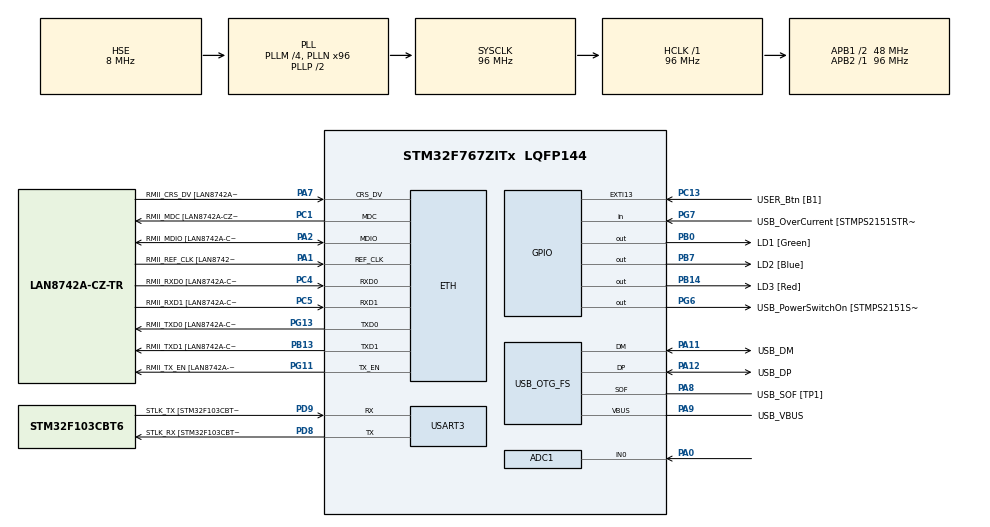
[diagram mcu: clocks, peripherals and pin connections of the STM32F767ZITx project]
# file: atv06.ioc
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ADC1.Channel-1\#ChannelRegularConversion=ADC_CHANNEL_0
ADC1.ContinuousConvMode=ENABLE
ADC1.NbrOfConversionFlag=1
ADC1.Rank-1\#ChannelRegularConversion=1
ADC1.SamplingTime-1\#ChannelRegularConversion=ADC_SAMPLETIME_3CYCLES
ADC1.master=1
ETH.MediaInterface=HAL_ETH_RMII_MODE
ETH.PHY_Name=LAN8742A_PHY_ADDRESS
ETH.PHY_Value=0
ETH.PhyAddress=0
FREERTOS.BinarySemaphores01=semButton,Dynamic,NULL,Available;semDone,Dynamic,NULL,Available
FREERTOS.Queues01=myQueue01,32,uint16_t,0,Dynamic,NULL,NULL
FREERTOS.Tasks01=TaskProdutora,24,128,StartTaskprodutora,Default,NULL,Dynamic,NULL,NULL;TaskConsumidora,24,128,StartTaskConsumidora,Default,NULL,Dynamic,NULL,NULL
Mcu.Family=STM32F7
Mcu.Name=STM32F767ZITx
Mcu.Package=LQFP144
NVIC.PriorityGroup=NVIC_PRIORITYGROUP_4
NVIC.TIM1_UP_TIM10_IRQn=true\:15\:0\:false\:false\:true\:false\:false\:true\:true
NVIC.TimeBase=TIM1_UP_TIM10_IRQn
NVIC.TimeBaseIP=TIM1
PA0/WKUP.Signal=ADCx_IN0
PA1.GPIO_Label=RMII_REF_CLK [LAN8742A-CZ-TR_REFCLK0]
PA1.Mode=RMII
PA1.Signal=ETH_REF_CLK
PA10.GPIO_Label=USB_ID
PA10.Signal=USB_OTG_FS_ID
PA11.GPIO_Label=USB_DM
PA11.Mode=Device_Only
PA11.Signal=USB_OTG_FS_DM
PA12.GPIO_Label=USB_DP
PA12.Mode=Device_Only
PA12.Signal=USB_OTG_FS_DP
PA13.GPIO_Label=TMS
PA13.Mode=Serial_Wire
PA13.Signal=SYS_JTMS-SWDIO
PA14.GPIO_Label=TCK
PA14.Mode=Serial_Wire
PA14.Signal=SYS_JTCK-SWCLK
PA2.GPIO_Label=RMII_MDIO [LAN8742A-CZ-TR_MDIO]
PA2.Mode=RMII
PA2.Signal=ETH_MDIO
PA7.GPIO_Label=RMII_CRS_DV [LAN8742A-CZ-TR_CRS_DV]
PA7.Mode=RMII
PA7.Signal=ETH_CRS_DV
PA8.GPIO_Label=USB_SOF [TP1]
PA8.Mode=Activate_SOF_FS
PA8.Signal=USB_OTG_FS_SOF
PA9.GPIO_Label=USB_VBUS
PA9.Mode=Activate_VBUS
PA9.Signal=USB_OTG_FS_VBUS
PB0.GPIO_Label=LD1 [Green]
PB0.Signal=GPIO_Output
PB13.GPIO_Label=RMII_TXD1 [LAN8742A-CZ-TR_TXD1]
PB13.Mode=RMII
PB13.Signal=ETH_TXD1
PB14.GPIO_Label=LD3 [Red]
PB14.Signal=GPIO_Output
PB3.GPIO_Label=SWO
PB3.Signal=SYS_JTDO-SWO
PB7.GPIO_Label=LD2 [Blue]
PB7.Signal=GPIO_Output
PC1.GPIO_Label=RMII_MDC [LAN8742A-CZ-TR_MDC]
PC1.Mode=RMII
PC1.Signal=ETH_MDC
PC13.GPIO_Label=USER_Btn [B1]
PC13.GPIO_PuPd=GPIO_PULLDOWN
PC13.Signal=GPXTI13
PC14/OSC32_IN.Mode=LSE-External-Oscillator
PC14/OSC32_IN.Signal=RCC_OSC32_IN
PC15/OSC32_OUT.Mode=LSE-External-Oscillator
PC15/OSC32_OUT.Signal=RCC_OSC32_OUT
PC4.GPIO_Label=RMII_RXD0 [LAN8742A-CZ-TR_RXD0]
PC4.Mode=RMII
PC4.Signal=ETH_RXD0
PC5.GPIO_Label=RMII_RXD1 [LAN8742A-CZ-TR_RXD1]
PC5.Mode=RMII
PC5.Signal=ETH_RXD1
PD8.GPIO_Label=STLK_RX [STM32F103CBT6_PA3]
PD8.Mode=Asynchronous
PD8.Signal=USART3_TX
PD9.GPIO_Label=STLK_TX [STM32F103CBT6_PA2]
PD9.Mode=Asynchronous
PD9.Signal=USART3_RX
PG11.GPIO_Label=RMII_TX_EN [LAN8742A-CZ-TR_TXEN]
PG11.Mode=RMII
PG11.Signal=ETH_TX_EN
PG13.GPIO_Label=RMII_TXD0 [LAN8742A-CZ-TR_TXD0]
PG13.Mode=RMII
PG13.Signal=ETH_TXD0
PG6.GPIO_Label=USB_PowerSwitchOn [STMPS2151STR_EN]
PG6.Signal=GPIO_Output
PG7.GPIO_Label=USB_OverCurrent [STMPS2151STR_FAULT]
PG7.Signal=GPIO_Input
PH0/OSC_IN.GPIO_Label=MCO [STM32F103CBT6_PA8]
PH0/OSC_IN.Mode=HSE-External-Clock-Source
PH0/OSC_IN.Signal=RCC_OSC_IN
PH1/OSC_OUT.Mode=HSE-External-Clock-Source
PH1/OSC_OUT.Signal=RCC_OSC_OUT
ProjectManager.HeapSize=0x200
ProjectManager.StackSize=0x400
ProjectManager.TargetToolchain=STM32CubeIDE
RCC.48MHZClocksFreq_Value=24000000
RCC.AHBFreq_Value=96000000
RCC.APB1CLKDivider=RCC_HCLK_DIV2
RCC.APB1Freq_Value=48000000
RCC.APB1TimFreq_Value=96000000
RCC.APB2Freq_Value=96000000
RCC.APB2TimFreq_Value=96000000
RCC.CortexFreq_Value=96000000
RCC.HCLKFreq_Value=96000000
RCC.HSE_VALUE=8000000
RCC.HSI_VALUE=16000000
RCC.PLLM=4
RCC.PLLMUL=RCC_PLL_MUL9
RCC.PLLN=96
RCC.PLLQ=4
RCC.PRESCALERUSB=RCC_USBCLKSOURCE_PLL_DIV1_5
RCC.SYSCLKFreq_VALUE=96000000
RCC.SYSCLKSource=RCC_SYSCLKSOURCE_PLLCLK
RCC.SYSCLKSourceVirtual=RCC_SYSCLKSOURCE_PLLCLK
RCC.USBFreq_Value=48000000
RCC.VCOOutputFreq_Value=192000000
SH.ADCx_IN0.0=ADC1_IN0,IN0
USART3.VirtualMode-Asynchronous=VM_ASYNC
USB_OTG_FS.VirtualMode=Device_Only
VP_FREERTOS_VS_CMSIS_V2.Mode=CMSIS_V2
VP_SYS_VS_tim1.Mode=TIM1
board=NUCLEO-F767ZI

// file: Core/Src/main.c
/* USER CODE BEGIN Header */
/**
  ******************************************************************************
  * @file           : main.c
  * @brief          : Main program body
  ******************************************************************************
  * @attention
  *
  * Copyright (c) 2025 STMicroelectronics.
  * All rights reserved.
  *
  * This software is licensed under terms that can be found in the LICENSE file
  * in the root directory of this software component.
  * If no LICENSE file comes with this software, it is provided AS-IS.
  *
  ******************************************************************************
  */
/* USER CODE END Header */
#include "main.h"
#include "string.h"
#include "cmsis_os.h"
#include <stdio.h>

/* USER CODE BEGIN PD */
#define N_SAMPLES      1024
#define QUEUE_LENGTH   32
/* USER CODE END PD */

#if defined ( __ICCARM__ ) /*!< IAR Compiler */
#pragma location=0x2007c000
ETH_DMADescTypeDef  DMARxDscrTab[ETH_RX_DESC_CNT]; /* Ethernet Rx DMA Descriptors */
#pragma location=0x2007c0a0
ETH_DMADescTypeDef  DMATxDscrTab[ETH_TX_DESC_CNT]; /* Ethernet Tx DMA Descriptors */

#elif defined ( __CC_ARM )  /* MDK ARM Compiler */

__attribute__((at(0x2007c000))) ETH_DMADescTypeDef  DMARxDscrTab[ETH_RX_DESC_CNT]; /* Ethernet Rx DMA Descriptors */
__attribute__((at(0x2007c0a0))) ETH_DMADescTypeDef  DMATxDscrTab[ETH_TX_DESC_CNT]; /* Ethernet Tx DMA Descriptors */

#elif defined ( __GNUC__ ) /* GNU Compiler */

ETH_DMADescTypeDef DMARxDscrTab[ETH_RX_DESC_CNT] __attribute__((section(".RxDecripSection"))); /* Ethernet Rx DMA Descriptors */
ETH_DMADescTypeDef DMATxDscrTab[ETH_TX_DESC_CNT] __attribute__((section(".TxDecripSection")));   /* Ethernet Tx DMA Descriptors */
#endif

ETH_TxPacketConfig TxConfig;

ADC_HandleTypeDef hadc1;

ETH_HandleTypeDef heth;

UART_HandleTypeDef huart3;

PCD_HandleTypeDef hpcd_USB_OTG_FS;

/* Definitions for TaskProdutora */
osThreadId_t TaskProdutoraHandle;
const osThreadAttr_t TaskProdutora_attributes = {
  .name = "TaskProdutora",
  .stack_size = 128 * 4,
  .priority = (osPriority_t) osPriorityNormal,
};
/* Definitions for TaskConsumidora */
osThreadId_t TaskConsumidoraHandle;
const osThreadAttr_t TaskConsumidora_attributes = {
  .name = "TaskConsumidora",
  .stack_size = 128 * 4,
  .priority = (osPriority_t) osPriorityNormal,
};
/* Definitions for myQueue01 */
osMessageQueueId_t myQueue01Handle;
const osMessageQueueAttr_t myQueue01_attributes = {
  .name = "myQueue01"
};
/* Definitions for semButton */
osSemaphoreId_t semButtonHandle;
const osSemaphoreAttr_t semButton_attributes = {
  .name = "semButton"
};
/* Definitions for semDone */
osSemaphoreId_t semDoneHandle;
const osSemaphoreAttr_t semDone_attributes = {
  .name = "semDone"
};

void SystemClock_Config(void);
static void MX_GPIO_Init(void);
static void MX_ETH_Init(void);
static void MX_USART3_UART_Init(void);
static void MX_USB_OTG_FS_PCD_Init(void);
static void MX_ADC1_Init(void);
void StartTaskprodutora(void *argument);
void StartTaskConsumidora(void *argument);

int main(void)
{

  /* MCU Configuration--------------------------------------------------------*/

  /* Reset of all peripherals, Initializes the Flash interface and the Systick. */
  HAL_Init();

  /* Configure the system clock */
  SystemClock_Config();

  /* Initialize all configured peripherals */
  MX_GPIO_Init();
  MX_ETH_Init();
  MX_USART3_UART_Init();
  MX_USB_OTG_FS_PCD_Init();
  MX_ADC1_Init();

  /* Init scheduler */
  osKernelInitialize();

  /* Create the semaphores(s) */
  /* creation of semButton */
  semButtonHandle = osSemaphoreNew(1, 1, &semButton_attributes);
  //semButtonHandle = osSemaphoreNew(1, 0, NULL);

  /* creation of semDone */
  semDoneHandle = osSemaphoreNew(1, 1, &semDone_attributes);
  //semDoneHandle = osSemaphoreNew(1, 0, NULL);

  /* Create the queue(s) */
  const osMessageQueueAttr_t myQueue01_attributes = { .name = "myQueue01" };
  /* creation of myQueue01 */
  myQueue01Handle = osMessageQueueNew (N_SAMPLES, sizeof(uint16_t), &myQueue01_attributes);

  /* Create the thread(s) */
  /* creation of TaskProdutora */
  TaskProdutoraHandle = osThreadNew(StartTaskprodutora, NULL, &TaskProdutora_attributes);

  /* creation of TaskConsumidora */
  TaskConsumidoraHandle = osThreadNew(StartTaskConsumidora, NULL, &TaskConsumidora_attributes);

  /* Start scheduler */
  osKernelStart();

  /* We should never get here as control is now taken by the scheduler */

  /* Infinite loop */
  while (1)
  {

  }
}

void SystemClock_Config(void)
{
  RCC_OscInitTypeDef RCC_OscInitStruct = {0};
  RCC_ClkInitTypeDef RCC_ClkInitStruct = {0};

  /** Configure LSE Drive Capability
  */
  HAL_PWR_EnableBkUpAccess();

  /** Configure the main internal regulator output voltage
  */
  __HAL_RCC_PWR_CLK_ENABLE();
  __HAL_PWR_VOLTAGESCALING_CONFIG(PWR_REGULATOR_VOLTAGE_SCALE3);

  /** Initializes the RCC Oscillators according to the specified parameters
  * in the RCC_OscInitTypeDef structure.
  */
  RCC_OscInitStruct.OscillatorType = RCC_OSCILLATORTYPE_HSE;
  RCC_OscInitStruct.HSEState = RCC_HSE_BYPASS;
  RCC_OscInitStruct.PLL.PLLState = RCC_PLL_ON;
  RCC_OscInitStruct.PLL.PLLSource = RCC_PLLSOURCE_HSE;
  RCC_OscInitStruct.PLL.PLLM = 4;
  RCC_OscInitStruct.PLL.PLLN = 96;
  RCC_OscInitStruct.PLL.PLLP = RCC_PLLP_DIV2;
  RCC_OscInitStruct.PLL.PLLQ = 4;
  RCC_OscInitStruct.PLL.PLLR = 2;
  if (HAL_RCC_OscConfig(&RCC_OscInitStruct) != HAL_OK)
  {
    Error_Handler();
  }

  /** Activate the Over-Drive mode
  */
  if (HAL_PWREx_EnableOverDrive() != HAL_OK)
  {
    Error_Handler();
  }

  /** Initializes the CPU, AHB and APB buses clocks
  */
  RCC_ClkInitStruct.ClockType = RCC_CLOCKTYPE_HCLK|RCC_CLOCKTYPE_SYSCLK
                              |RCC_CLOCKTYPE_PCLK1|RCC_CLOCKTYPE_PCLK2;
  RCC_ClkInitStruct.SYSCLKSource = RCC_SYSCLKSOURCE_PLLCLK;
  RCC_ClkInitStruct.AHBCLKDivider = RCC_SYSCLK_DIV1;
  RCC_ClkInitStruct.APB1CLKDivider = RCC_HCLK_DIV2;
  RCC_ClkInitStruct.APB2CLKDivider = RCC_HCLK_DIV1;

  if (HAL_RCC_ClockConfig(&RCC_ClkInitStruct, FLASH_LATENCY_3) != HAL_OK)
  {
    Error_Handler();
  }
}

static void MX_ADC1_Init(void)
{

  ADC_ChannelConfTypeDef sConfig = {0};

  /** Configure the global features of the ADC (Clock, Resolution, Data Alignment and number of conversion)
  */
  hadc1.Instance = ADC1;
  hadc1.Init.ClockPrescaler = ADC_CLOCK_SYNC_PCLK_DIV4;
  hadc1.Init.Resolution = ADC_RESOLUTION_12B;
  hadc1.Init.ScanConvMode = ADC_SCAN_DISABLE;
  hadc1.Init.ContinuousConvMode = ENABLE;
  hadc1.Init.DiscontinuousConvMode = DISABLE;
  hadc1.Init.ExternalTrigConvEdge = ADC_EXTERNALTRIGCONVEDGE_NONE;
  hadc1.Init.ExternalTrigConv = ADC_SOFTWARE_START;
  hadc1.Init.DataAlign = ADC_DATAALIGN_RIGHT;
  hadc1.Init.NbrOfConversion = 1;
  hadc1.Init.DMAContinuousRequests = DISABLE;
  hadc1.Init.EOCSelection = ADC_EOC_SINGLE_CONV;
  if (HAL_ADC_Init(&hadc1) != HAL_OK)
  {
    Error_Handler();
  }

  /** Configure for the selected ADC regular channel its corresponding rank in the sequencer and its sample time.
  */
  sConfig.Channel = ADC_CHANNEL_0;
  sConfig.Rank = ADC_REGULAR_RANK_1;
  sConfig.SamplingTime = ADC_SAMPLETIME_3CYCLES;
  if (HAL_ADC_ConfigChannel(&hadc1, &sConfig) != HAL_OK)
  {
    Error_Handler();
  }

}

static void MX_ETH_Init(void)
{

   static uint8_t MACAddr[6];

  heth.Instance = ETH;
  MACAddr[0] = 0x00;
  MACAddr[1] = 0x80;
  MACAddr[2] = 0xE1;
  MACAddr[3] = 0x00;
  MACAddr[4] = 0x00;
  MACAddr[5] = 0x00;
  heth.Init.MACAddr = &MACAddr[0];
  heth.Init.MediaInterface = HAL_ETH_RMII_MODE;
  heth.Init.TxDesc = DMATxDscrTab;
  heth.Init.RxDesc = DMARxDscrTab;
  heth.Init.RxBuffLen = 1524;

  if (HAL_ETH_Init(&heth) != HAL_OK)
  {
    Error_Handler();
  }

  memset(&TxConfig, 0 , sizeof(ETH_TxPacketConfig));
  TxConfig.Attributes = ETH_TX_PACKETS_FEATURES_CSUM | ETH_TX_PACKETS_FEATURES_CRCPAD;
  TxConfig.ChecksumCtrl = ETH_CHECKSUM_IPHDR_PAYLOAD_INSERT_PHDR_CALC;
  TxConfig.CRCPadCtrl = ETH_CRC_PAD_INSERT;

}

static void MX_USART3_UART_Init(void)
{

  huart3.Instance = USART3;
  huart3.Init.BaudRate = 115200;
  huart3.Init.WordLength = UART_WORDLENGTH_8B;
  huart3.Init.StopBits = UART_STOPBITS_1;
  huart3.Init.Parity = UART_PARITY_NONE;
  huart3.Init.Mode = UART_MODE_TX_RX;
  huart3.Init.HwFlowCtl = UART_HWCONTROL_NONE;
  huart3.Init.OverSampling = UART_OVERSAMPLING_16;
  huart3.Init.OneBitSampling = UART_ONE_BIT_SAMPLE_DISABLE;
  huart3.AdvancedInit.AdvFeatureInit = UART_ADVFEATURE_NO_INIT;
  if (HAL_UART_Init(&huart3) != HAL_OK)
  {
    Error_Handler();
  }

}

static void MX_USB_OTG_FS_PCD_Init(void)
{

  hpcd_USB_OTG_FS.Instance = USB_OTG_FS;
  hpcd_USB_OTG_FS.Init.dev_endpoints = 6;
  hpcd_USB_OTG_FS.Init.speed = PCD_SPEED_FULL;
  hpcd_USB_OTG_FS.Init.dma_enable = DISABLE;
  hpcd_USB_OTG_FS.Init.phy_itface = PCD_PHY_EMBEDDED;
  hpcd_USB_OTG_FS.Init.Sof_enable = ENABLE;
  hpcd_USB_OTG_FS.Init.low_power_enable = DISABLE;
  hpcd_USB_OTG_FS.Init.lpm_enable = DISABLE;
  hpcd_USB_OTG_FS.Init.vbus_sensing_enable = ENABLE;
  hpcd_USB_OTG_FS.Init.use_dedicated_ep1 = DISABLE;
  if (HAL_PCD_Init(&hpcd_USB_OTG_FS) != HAL_OK)
  {
    Error_Handler();
  }

}

static void MX_GPIO_Init(void)
{
  GPIO_InitTypeDef GPIO_InitStruct = {0};

  /* GPIO Ports Clock Enable */
  __HAL_RCC_GPIOC_CLK_ENABLE();
  __HAL_RCC_GPIOH_CLK_ENABLE();
  __HAL_RCC_GPIOA_CLK_ENABLE();
  __HAL_RCC_GPIOB_CLK_ENABLE();
  __HAL_RCC_GPIOD_CLK_ENABLE();
  __HAL_RCC_GPIOG_CLK_ENABLE();

  /*Configure GPIO pin Output Level */
  HAL_GPIO_WritePin(GPIOB, LD1_Pin|LD3_Pin|LD2_Pin, GPIO_PIN_RESET);

  /*Configure GPIO pin Output Level */
  HAL_GPIO_WritePin(USB_PowerSwitchOn_GPIO_Port, USB_PowerSwitchOn_Pin, GPIO_PIN_RESET);

  /*Configure GPIO pin : USER_Btn_Pin */
  GPIO_InitStruct.Pin = USER_Btn_Pin;
  GPIO_InitStruct.Mode = GPIO_MODE_IT_RISING;
  GPIO_InitStruct.Pull = GPIO_PULLUP;
  HAL_GPIO_Init(USER_Btn_GPIO_Port, &GPIO_InitStruct);

  /*Configure GPIO pins : LD1_Pin LD3_Pin LD2_Pin */
  GPIO_InitStruct.Pin = LD1_Pin|LD3_Pin|LD2_Pin;
  GPIO_InitStruct.Mode = GPIO_MODE_OUTPUT_PP;
  GPIO_InitStruct.Pull = GPIO_NOPULL;
  GPIO_InitStruct.Speed = GPIO_SPEED_FREQ_LOW;
  HAL_GPIO_Init(GPIOB, &GPIO_InitStruct);

  /*Configure GPIO pin : USB_PowerSwitchOn_Pin */
  GPIO_InitStruct.Pin = USB_PowerSwitchOn_Pin;
  GPIO_InitStruct.Mode = GPIO_MODE_OUTPUT_PP;
  GPIO_InitStruct.Pull = GPIO_NOPULL;
  GPIO_InitStruct.Speed = GPIO_SPEED_FREQ_LOW;
  HAL_GPIO_Init(USB_PowerSwitchOn_GPIO_Port, &GPIO_InitStruct);

  /*Configure GPIO pin : USB_OverCurrent_Pin */
  GPIO_InitStruct.Pin = USB_OverCurrent_Pin;
  GPIO_InitStruct.Mode = GPIO_MODE_INPUT;
  GPIO_InitStruct.Pull = GPIO_NOPULL;
  HAL_GPIO_Init(USB_OverCurrent_GPIO_Port, &GPIO_InitStruct);

}

/* USER CODE BEGIN 4 */
void EXTI15_10_IRQHandler(void)
{
	if (__HAL_GPIO_EXTI_GET_IT(USER_Btn_Pin) != RESET) {
	    __HAL_GPIO_EXTI_CLEAR_IT(USER_Btn_Pin);
	    osSemaphoreRelease(semButtonHandle);
  }
}

/* USER CODE END 4 */

void StartTaskprodutora(void *argument)
{
  /* USER CODE BEGIN 5 */
	uint16_t sample;
	  for (;;) {
	    osSemaphoreAcquire(semButtonHandle, osWaitForever);
	    for (uint32_t i = 0; i < N_SAMPLES; i++) {
	      HAL_ADC_Start(&hadc1);
	      HAL_ADC_PollForConversion(&hadc1, HAL_MAX_DELAY);
	      sample = HAL_ADC_GetValue(&hadc1);
	      osMessageQueuePut(myQueue01Handle, &sample, 0, osWaitForever);
	      osDelay(1);
	    }
	    osSemaphoreRelease(semDoneHandle);
	  }
  }
  /* USER CODE END 5 */

void StartTaskConsumidora(void *argument)
{
  /* USER CODE BEGIN StartTaskConsumidora */

	char msg[64];
	uint16_t sample;
	  for (;;) {
	    osSemaphoreAcquire(semDoneHandle, osWaitForever);
	    uint32_t sum = 0;
	    // Read and transmit all samples from queue
	    for (uint32_t i = 0; i < N_SAMPLES; i++) {
	      osMessageQueueGet(myQueue01Handle, &sample, NULL, osWaitForever);
	      sum += sample;
	      int len = snprintf(msg, sizeof(msg), "Amostra[%lu] = %u\r\n", i, sample);
	      HAL_UART_Transmit(&huart3, (uint8_t*)msg, len, HAL_MAX_DELAY);
	    }
	    // Calculate and transmit mean
	    uint32_t mean_int = (sum + N_SAMPLES/2) / N_SAMPLES;
	    int len = snprintf(msg, sizeof(msg), "Média ADC: %lu\r\n", mean_int);
	    HAL_UART_Transmit(&huart3, (uint8_t*)msg, len, HAL_MAX_DELAY);
	    HAL_GPIO_TogglePin(LD3_GPIO_Port, LD3_Pin);
	  }
  }
  /* USER CODE END StartTaskConsumidora */

void HAL_TIM_PeriodElapsedCallback(TIM_HandleTypeDef *htim)
{
  if (htim->Instance == TIM1)
  {
    HAL_IncTick();
  }
}

void Error_Handler(void)
{
  __disable_irq();
  while (1)
  {
  }
}
